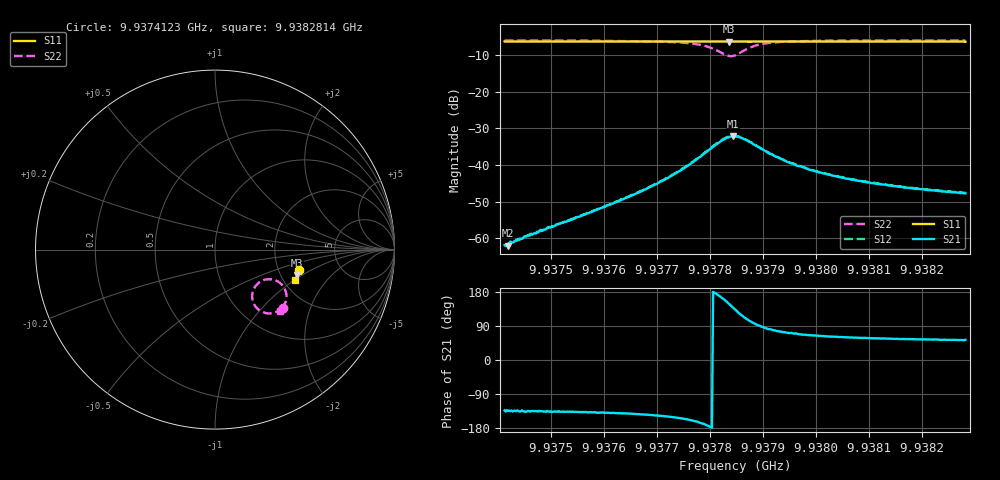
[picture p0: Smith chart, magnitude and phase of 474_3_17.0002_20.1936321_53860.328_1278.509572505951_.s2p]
#  HZ  S  RI  R  50.00
! Rohde & Schwarz Vector Network Analyzer
! Rohde-Schwarz,ZNB20-2Port,1311601062101988,3.16
! Created: UTC 3/20/2024, 11:13:18 PM
! freq[Hz]  re:S11  im:S11  re:S21  im:S21  re:S12  im:S12  re:S22  im:S22
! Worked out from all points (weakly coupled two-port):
!   401 points, 9.9374123 GHz to 9.9382814 GHz, reference 50 ohm
!   highest |S21| = -32.20 dB at 9.9378425 GHz (marker M1); lowest = -62.0 dB at 9.9374188 GHz (marker M2)
!   lowest |S11| = -6.4 dB at 9.937836 GHz (marker M3), VSWR 2.83, Z = 122 - j45.2 ohm
!   |S11| at or under -10 dB: nowhere
!   |S22| runs from -10.4 to -6.1 dB; largest |S21 - S12| = 0.001
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9.93741227e9  0.4689 -0.1159  -0.00055 -0.000588  -0.000584 -0.000593  0.3766 -0.3243
9.93741878e9  0.4689 -0.1163  -0.000553 -0.00057  -0.000594 -0.00059  0.376 -0.3248
9.93746007e9  0.468 -0.1192  -0.000793 -0.000761  -0.000815 -0.000796  0.3725 -0.3281
9.93748615e9  0.4673 -0.1209  -0.00095 -0.000907  -0.000966 -0.000882  0.3698 -0.3301
9.93755785e9  0.4658 -0.1258  -0.00151 -0.00141  -0.00155 -0.00135  0.3612 -0.3365
9.9376426e9  0.4637 -0.1313  -0.00278 -0.00224  -0.00288 -0.00224  0.3459 -0.3457
9.93770344e9  0.4622 -0.1356  -0.00482 -0.0031  -0.00493 -0.00313  0.3257 -0.3529
9.9377469e9  0.4608 -0.1385  -0.00781 -0.00374  -0.008 -0.00373  0.2988 -0.3555
9.93779036e9  0.4589 -0.1414  -0.0143 -0.00247  -0.0147 -0.00232  0.2473 -0.338
9.93780557e9  0.458 -0.1422  -0.0176 3.22e-05  -0.0181 0.000478  0.2231 -0.3134
9.93781861e9  0.4574 -0.1425  -0.0202 0.00434  -0.0207 0.0049  0.2082 -0.2762
9.93783599e9  0.4565 -0.1426  -0.0202 0.0128  -0.0202 0.0137  0.2217 -0.2093
9.93784251e9  0.4567 -0.1427  -0.0185 0.0161  -0.0183 0.0168  0.2405 -0.1875
9.93784686e9  0.4568 -0.1427  -0.0167 0.0177  -0.0164 0.0186  0.2562 -0.1767
9.93785772e9  0.4571 -0.1428  -0.0117 0.0203  -0.0112 0.021  0.2996 -0.1648
9.93787293e9  0.4574 -0.1437  -0.00508 0.0201  -0.00473 0.0206  0.3495 -0.1772
9.93789901e9  0.4576 -0.1458  0.000883 0.0162  0.00114 0.0163  0.3886 -0.2196
9.93794464e9  0.4569 -0.1494  0.00337 0.0105  0.00358 0.0106  0.3977 -0.2684
9.93799244e9  0.4559 -0.1527  0.00357 0.00764  0.00374 0.00766  0.3926 -0.2939
9.93805981e9  0.4541 -0.1573  0.00324 0.00557  0.00336 0.0056  0.3837 -0.3124
9.93813803e9  0.452 -0.1624  0.00288 0.00435  0.00304 0.00436  0.3752 -0.3252
9.93828145e9  0.4479 -0.1715  0.00245 0.00328  0.00259 0.00326  0.363 -0.3394
